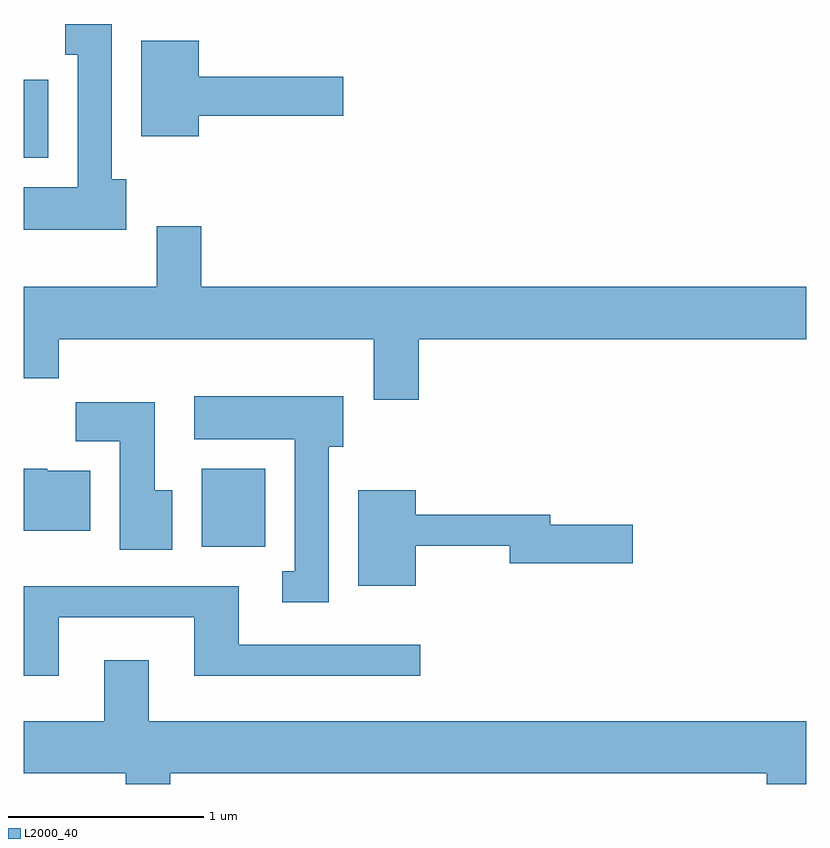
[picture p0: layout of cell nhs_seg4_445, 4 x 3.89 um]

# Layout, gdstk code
import gdstk
lib = gdstk.Library(unit=1e-6, precision=1e-09)
def R(c, l, rs):  # rectangles x0, y0, x1, y1
    for r in rs: c.add(gdstk.rectangle(r[:2], r[2:], *l))
def P(c, l, *ps):  # polygons
    for p in ps: c.add(gdstk.Polygon(p, *l))
L2000_40 = (2000, 40)

nhs_seg4_445 = lib.new_cell('nhs_seg4_445')
R(nhs_seg4_445, L2000_40, [(198.521,1329.196,198.844,1329.594), (197.611,1331.186,197.734,1331.584)])
P(nhs_seg4_445, L2000_40, [(198.134,1331.074),(198.059,1331.074),(198.059,1331.869),(197.823,1331.869),(197.823,1331.711),(197.886,1331.711),(197.886,1331.034),(197.611,1331.034),(197.611,1330.816),(198.134,1330.816)],
  [(198.504,1331.401),(199.244,1331.401),(199.244,1331.599),(198.504,1331.599),(198.504,1331.784),(198.211,1331.784),(198.211,1331.296),(198.504,1331.296)],
  [(199.629,1330.256),(201.611,1330.256),(201.611,1330.524),(198.519,1330.524),(198.519,1330.834),(198.291,1330.834),(198.291,1330.524),(197.611,1330.524),(197.611,1330.056),(197.789,1330.056),(197.789,1330.256),(199.401,1330.256),(199.401,1329.946),(199.629,1329.946)],
  [(199.169,1329.706),(199.244,1329.706),(199.244,1329.964),(198.481,1329.964),(198.481,1329.746),(198.996,1329.746),(198.996,1329.069),(198.933,1329.069),(198.933,1328.911),(199.169,1328.911)],
  [(198.369,1329.484),(198.279,1329.484),(198.279,1329.934),(197.876,1329.934),(197.876,1329.736),(198.101,1329.736),(198.101,1329.181),(198.369,1329.181)],
  [(197.949,1329.584),(197.73,1329.584),(197.73,1329.594),(197.611,1329.594),(197.611,1329.276),(197.949,1329.276)],
  [(199.614,1329.201),(200.096,1329.201),(200.096,1329.111),(200.724,1329.111),(200.724,1329.309),(200.304,1329.309),(200.304,1329.359),(199.614,1329.359),(199.614,1329.484),(199.321,1329.484),(199.321,1328.996),(199.614,1328.996)],
  [(197.789,1328.836),(198.481,1328.836),(198.481,1328.536),(199.638,1328.536),(199.638,1328.694),(198.709,1328.694),(198.709,1328.994),(197.611,1328.994),(197.611,1328.536),(197.789,1328.536)],
  [(198.359,1328.036),(201.411,1328.036),(201.411,1327.982),(201.611,1327.982),(201.611,1328.304),(198.249,1328.304),(198.249,1328.614),(198.021,1328.614),(198.021,1328.304),(197.611,1328.304),(197.611,1328.036),(198.131,1328.036),(198.131,1327.982),(198.359,1327.982)])

lib.write_gds('nhs_seg4_445.gds')
